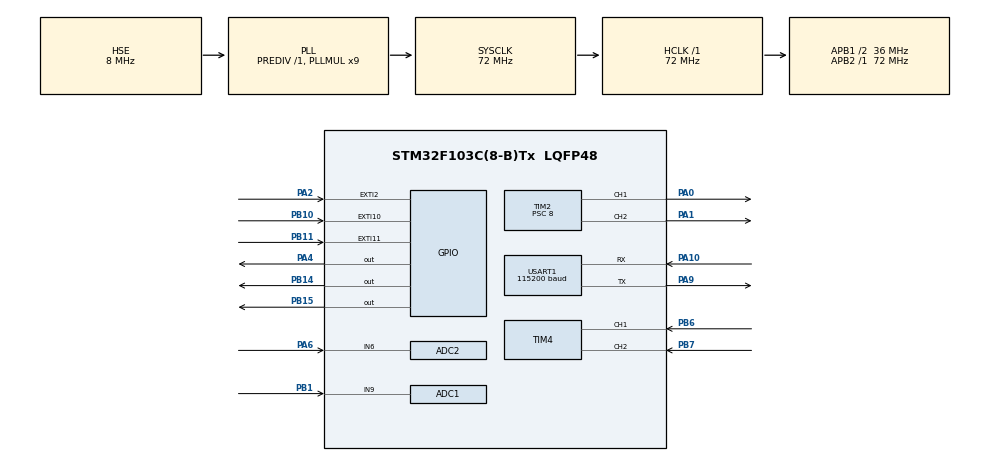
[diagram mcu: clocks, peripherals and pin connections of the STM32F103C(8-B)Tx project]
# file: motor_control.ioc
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ADC1.Channel-0\#ChannelRegularConversion=ADC_CHANNEL_9
ADC1.NbrOfConversionFlag=1
ADC1.Rank-0\#ChannelRegularConversion=1
ADC1.SamplingTime-0\#ChannelRegularConversion=ADC_SAMPLETIME_239CYCLES_5
ADC1.master=1
ADC2.Channel-0\#ChannelRegularConversion=ADC_CHANNEL_6
ADC2.ContinuousConvMode=ENABLE
ADC2.NbrOfConversion=1
ADC2.NbrOfConversionFlag=1
ADC2.Rank-0\#ChannelRegularConversion=1
ADC2.SamplingTime-0\#ChannelRegularConversion=ADC_SAMPLETIME_239CYCLES_5
Mcu.Family=STM32F1
Mcu.Name=STM32F103C(8-B)Tx
Mcu.Package=LQFP48
NVIC.EXTI15_10_IRQn=true\:0\:0\:false\:false\:true\:true\:true\:true
NVIC.EXTI2_IRQn=true\:0\:0\:false\:false\:true\:true\:true\:true
NVIC.PriorityGroup=NVIC_PRIORITYGROUP_4
NVIC.USART1_IRQn=true\:0\:0\:false\:false\:true\:true\:true\:true
PA0-WKUP.Signal=S_TIM2_CH1_ETR
PA1.Signal=S_TIM2_CH2
PA10.Mode=Asynchronous
PA10.Signal=USART1_RX
PA13.Mode=Serial_Wire
PA13.Signal=SYS_JTMS-SWDIO
PA14.Mode=Serial_Wire
PA14.Signal=SYS_JTCK-SWCLK
PA2.Signal=GPXTI2
PA4.Signal=GPIO_Output
PA6.Signal=ADCx_IN6
PA9.Mode=Asynchronous
PA9.Signal=USART1_TX
PB1.Signal=ADCx_IN9
PB10.GPIO_ModeDefaultEXTI=GPIO_MODE_IT_FALLING
PB10.GPIO_PuPd=GPIO_PULLUP
PB10.Signal=GPXTI10
PB11.GPIO_ModeDefaultEXTI=GPIO_MODE_IT_FALLING
PB11.GPIO_PuPd=GPIO_PULLUP
PB11.Signal=GPXTI11
PB14.Signal=GPIO_Output
PB15.PinState=GPIO_PIN_RESET
PB15.Signal=GPIO_Output
PB6.Signal=S_TIM4_CH1
PB7.Signal=S_TIM4_CH2
PD0-OSC_IN.Mode=HSE-External-Oscillator
PD0-OSC_IN.Signal=RCC_OSC_IN
PD1-OSC_OUT.Mode=HSE-External-Oscillator
PD1-OSC_OUT.Signal=RCC_OSC_OUT
ProjectManager.HeapSize=0x200
ProjectManager.StackSize=0x400
ProjectManager.TargetToolchain=MDK-ARM V5
RCC.ADCPresc=RCC_ADCPCLK2_DIV6
RCC.AHBFreq_Value=72000000
RCC.APB1CLKDivider=RCC_HCLK_DIV2
RCC.APB1Freq_Value=36000000
RCC.APB1TimFreq_Value=72000000
RCC.APB2Freq_Value=72000000
RCC.APB2TimFreq_Value=72000000
RCC.HCLKFreq_Value=72000000
RCC.PLLMUL=RCC_PLL_MUL9
RCC.PLLSourceVirtual=RCC_PLLSOURCE_HSE
RCC.SYSCLKFreq_VALUE=72000000
RCC.SYSCLKSource=RCC_SYSCLKSOURCE_PLLCLK
RCC.USBFreq_Value=72000000
SH.ADCx_IN6.0=ADC2_IN6,IN6
SH.ADCx_IN9.0=ADC1_IN9,IN9
SH.S_TIM2_CH1_ETR.0=TIM2_CH1,PWM Generation1 CH1
SH.S_TIM2_CH2.0=TIM2_CH2,PWM Generation2 CH2
SH.S_TIM4_CH1.0=TIM4_CH1,Encoder_Interface
SH.S_TIM4_CH2.0=TIM4_CH2,Encoder_Interface
TIM2.Channel-PWM\ Generation1\ CH1=TIM_CHANNEL_1
TIM2.Channel-PWM\ Generation2\ CH2=TIM_CHANNEL_2
TIM2.Period=799
TIM2.Prescaler=8
TIM4.EncoderMode=TIM_ENCODERMODE_TI12
USART1.BaudRate=115200
USART1.VirtualMode=VM_ASYNC
VP_TIM2_VS_ClockSourceINT.Mode=Internal
board=custom

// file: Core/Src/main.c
/* USER CODE BEGIN Header */
/**
  ******************************************************************************
  * @file           : main.c
  * @brief          : Main program body
  ******************************************************************************
  * @attention
  *
  * Copyright (c) 2026 STMicroelectronics.
  * All rights reserved.
  *
  * This software is licensed under terms that can be found in the LICENSE file
  * in the root directory of this software component.
  * If no LICENSE file comes with this software, it is provided AS-IS.
  *
  ******************************************************************************
  */
/* USER CODE END Header */
#include "main.h"

/* USER CODE BEGIN Includes */
#include "motor.h"
#include "motor_logic.h"
#include "stdint.h"
#include "stdio.h"
#include "stdlib.h"
#include "Encoder.h"
#include "PID.h"
#include "string.h"
/* USER CODE END Includes */

ADC_HandleTypeDef hadc1;
ADC_HandleTypeDef hadc2;

TIM_HandleTypeDef htim2;
TIM_HandleTypeDef htim4;

UART_HandleTypeDef huart1;

void SystemClock_Config(void);
static void MX_GPIO_Init(void);
static void MX_TIM2_Init(void);
static void MX_ADC1_Init(void);
static void MX_USART1_UART_Init(void);
static void MX_TIM4_Init(void);
static void MX_ADC2_Init(void);

/* USER CODE BEGIN 0 */
#define VREF            3.3f    // Điện áp tham chiếu STM32 (V)
#define ADC_MAX         4095.0f // Độ phân giải 12-bit
#define R_SHUNT         1000.0f // Điện trở trên chân IS (thường là 1k Ohm = 1000)
#define K_ILIS          1950.0f // Hệ số của chip BTS7960 (tra datasheet)
#define PULSE_TO_MM_RATIO (8.0f / 422.4f)
uint8_t direction = 1;
uint16_t rx_buffer[8] = {0};
uint8_t rx_data;
uint8_t speed_mode = 0;
uint16_t current_speed;
uint8_t flag = 0;
volatile uint8_t current_motor_status;
//buffer
char buffer[60]; // gửi dữ liệu lên matlab
char MatlabBufferEncoder[8]; // receive Encoder data from matlab
char MatlabBufferPID1[64]; // receive PID data from matlab
//========
//float current_mm = 0;
uint32_t last_send = 0;
uint8_t isMoving = 0;
uint8_t isEncoderReceiving = 0; //no PID
uint8_t rx_index;
float target_mm = 0;
// pid variable ============================
float output;
uint8_t PIDinUSED = 0;
uint8_t isPIDReceiving = 0;
PID_typedef myPID;
uint32_t last_send_time =0;
uint32_t mode = 0;
float start_pos;
	float v_acc = 0;
	float acc_step = 2.0f;
	float current_vel;
           // Hệ số lọc (càng nhỏ càng mượt nhưng càng trễ)
	static uint32_t last_pid_time = 0;
// custom
uint8_t isCustomReceiving = 0;
uint8_t isPIDCustomReceiving = 0;
// Dung bien tro de dieu chinh toc do
uint8_t isManual = 0;
/// các che do hinh thang
typedef struct{
	float accel_dist;
	float maintain_dist;
	float decel_dist;
}Mode_Profile;
uint8_t EnNum;
uint8_t is_waiting = 0;
Mode_Profile profiles[4] = {
    {5000.0f, 2000.0f, 4000.0f}, // Mode 1: Cân bằng
    {2000.0f, 5000.0f, 3000.0f}, // Mode 2: Mượt mà
    {20000.0f,  2000.0f, 8000},  // Mode 3: Gắt/Nhanh
    {0.0f, 0.0f, 0.0f}  // Mode 4: Khởi động chậm, dừng nhanh
};
Mode_Profile profiles_mm[4]; // Mảng này dùng để chạy thực tế
typedef enum{
	VELOCITY_MODE = 0,
	POSITION_CONTROL,
	MANUAL_MODE,
	VELOCITY_POT, // CHANGE SETPOINT BY PO
	ENCODER_MODE,
	RESET_MODE,
}PID_Mode;
 volatile PID_Mode pid_mode;

typedef enum{
	MODE_E1,
	MODE_E2,
	MODE_E3,
	MODE_E4,
	MODE_RESET
}Encoder_Mode;
 volatile Encoder_Mode ModeE;

void Convert_Pulse_to_MM_Profiles(Mode_Profile p_pulse[]) {
    for(int i = 0; i < 4; i++) {
        p_pulse[i].accel_dist    = profiles[i].accel_dist    * PULSE_TO_MM_RATIO;
        p_pulse[i].maintain_dist = profiles[i].maintain_dist * PULSE_TO_MM_RATIO;
        p_pulse[i].decel_dist    = profiles[i].decel_dist    * PULSE_TO_MM_RATIO;
    }
}
float Encoder_mode_Handle(PID_typedef *pid, Mode_Profile p[EnNum])
{

		pid->current_pos = Encoder_GetDistance() ; // dua ve don vi xung
		pid->current_velocity = (pid->current_pos - pid->last_pos)/0.02f;
		float v_max = 91;
		float total_pulses = p[EnNum].accel_dist + p[EnNum].maintain_dist + p[EnNum].decel_dist;

		if(pid->current_pos < p[EnNum].accel_dist) // Accel phase
		{
			pid->target_velocity = (pid->current_pos / p[EnNum].accel_dist) * 91.0f;
			if (pid->target_velocity < 10.0f) pid->target_velocity = 10.0f; // min vel
		}
		else if(pid->current_pos < (p[EnNum].accel_dist + p[EnNum].maintain_dist)) // maintain phase
		{
			pid->target_velocity = v_max;
		}
		else if(pid->current_pos < total_pulses) // decel phase
		{
			float dist_left = total_pulses - pid->current_pos;
			pid->target_velocity = (dist_left/ p[EnNum].decel_dist) * 91.0f;
		}
		output = PID_Compute(&myPID, pid->target_velocity, pid->current_velocity, 0.02f);
		pid->last_pos = pid->current_pos;
		if (pid->current_pos >= total_pulses) {
				current_speed = 0;
				current_motor_status = MOTOR_STOP;
				return 0; // Thoát hàm luôn, không cho PID_Compute chạy nữa
		}
		if(output > 0)
		{
			 current_motor_status = MOTOR_SPEED_UP;
			 current_speed = (uint16_t)output;
			}
			else
			{
				current_motor_status = MOTOR_SPEED_DOWN;
				myPID.integral_Stored = 0;
				current_speed= 0;
		}
}

//Interrupt for receiving data

void HAL_UART_RxCpltCallback(UART_HandleTypeDef *huart)
{
  /* Prevent unused argument(s) compilation warning */
  UNUSED(huart);
  if(huart->Instance == USART1)
	{
		flag = 1;
		PID_Reset(&myPID);

		HAL_UART_Receive_IT(&huart1, &rx_data, 1);
	}
}
volatile uint8_t limit_left = 0;
volatile uint8_t limit_right = 0;
void Motor_State_Control_With_Reset(uint8_t target_state, uint16_t speed)
{
    static uint8_t last_state = MOTOR_STOP;
    static uint32_t stop_time_start = 0;

    // 1. Phát hiện sự kiện đảo chiều
    if ((target_state == MOTOR_SPEED_UP && last_state == MOTOR_SPEED_DOWN) ||
        (target_state == MOTOR_SPEED_DOWN && last_state == MOTOR_SPEED_UP))
    {
        is_waiting = 1;
        stop_time_start = HAL_GetTick();

        PID_Reset(&myPID); // Reset I và các thông số PID

        __HAL_TIM_SET_COMPARE(&htim2, TIM_CHANNEL_1, 0);
        __HAL_TIM_SET_COMPARE(&htim2, TIM_CHANNEL_2, 0);
    }

    // 2. Chờ bằng Timer (Trạm gác nội bộ)
    if (is_waiting)
    {
        if (HAL_GetTick() - stop_time_start < 1000) // Để 10s cho Ân dễ quan sát
        {
            // Ép dừng và THOÁT HÀM, không cho Bước 3 chạy
            __HAL_TIM_SET_COMPARE(&htim2, TIM_CHANNEL_1, 0);
            __HAL_TIM_SET_COMPARE(&htim2, TIM_CHANNEL_2, 0);

            // Cập nhật last_state ở đây để tránh lặp lại if ở Bước 1
            last_state = target_state;
            return;
        }
        else
        {
            is_waiting = 0; // Hết thời gian chờ, cho phép xuống Bước 3
        }
    }

    // 3. Thực thi điều khiển (Chỉ chạy khi ĐÃ CHỜ XONG)
    if (target_state == MOTOR_SPEED_UP)
    {
        current_motor_status = MOTOR_SPEED_UP;
    }
    else if (target_state == MOTOR_SPEED_DOWN)
    {
        current_motor_status = MOTOR_SPEED_DOWN;
    }
    else
    {
        // Trường hợp Stop
        current_motor_status = MOTOR_STOP;
        __HAL_TIM_SET_COMPARE(&htim2, TIM_CHANNEL_1, 0);
        __HAL_TIM_SET_COMPARE(&htim2, TIM_CHANNEL_2, 0);
    }

    last_state = target_state;
}
void HAL_GPIO_EXTI_Callback(uint16_t GPIO_Pin) {
    if (GPIO_Pin == GPIO_PIN_10) { // TRÁI
        limit_left = 1;
        Motor_Stop();
    }
    else if (GPIO_Pin == GPIO_PIN_11) { // PHẢI
        limit_right = 1;
        Motor_Stop();
    }
}

uint32_t last_ramp_time = 0;
void handle_simple_command(uint8_t *command)
{
	switch(*command)
			{
				case 'V':
					speed_mode = 1;
				break;
				// Trong handle_simple_command:
				case 'f': // Forward
            // CHỈ cho phép cập nhật hướng nếu đang ở MANUAL_MODE
            if(pid_mode == MANUAL_MODE) {
                current_motor_status = MOTOR_SPEED_UP;
            }
            break;

        case 'r': // Backward
            if(pid_mode == MANUAL_MODE) {
                current_motor_status = MOTOR_SPEED_DOWN;
            }
            break;

				case 's': // Stop
          current_motor_status = MOTOR_STOP;
					isMoving = 0;

					v_acc =0;
				isManual =0;
					break;
				case 'h':  //Home
						//current_speed = 30;
						pid_mode = POSITION_CONTROL; // Ép hệ thống chuyển sang điều khiển vị trí
						myPID.target_mm = 0;         // Đặt đích đến là gốc 0
						//myPID.integral_Stored  = 0;
            break;
				case 'z': //Set Zero
						current_motor_status = MOTOR_STOP;
						Encoder_SetZero(&myPID);
						break;
				case 'P':
					isPIDReceiving = 1;
					//PID_Reset(&myPID);
					//myPID.integral_Stored = 0;
					//rx_index = 0;
					break;
				case 'p':
					pid_mode = VELOCITY_POT;
				isPIDReceiving = 1;
				break;
				case 'J':
					pid_mode = RESET_MODE;

				break;
//				case 'm':
//						//PIDinUSED = 0;
//						//isMoving = 0;         // Dừng motor cho an toàn khi chuyển chế độ
//						//current_motor_status = MOTOR_STOP;
//						HAL_GPIO_WritePin(GPIOA, GPIO_PIN_4, 0);
//						// Reset các biến tích phân của PID để lần sau bật lại không bị giật
//						//myPID.integral_Stored = 0;
//						//myPID.previous_error = 0;
//						isPIDReceiving =0;
//
//					isManual =1;
//					break;
				case 'l':
						HAL_GPIO_WritePin(GPIOA, R_EN | L_EN, GPIO_PIN_RESET);

            // 2. Đợi ít nhất 3us (ở đây để 10ms cho chắc chắn và xả nhiệt)
            HAL_Delay(10);

            // 3. Kéo chân Enable lên HIGH để kích hoạt lại Driver [cite: 608]
            HAL_GPIO_WritePin(GPIOA, R_EN | L_EN, GPIO_PIN_SET);
					break;
				case 'e':
					pid_mode = ENCODER_MODE;
				Convert_Pulse_to_MM_Profiles(profiles_mm);
					break;
				case 'b':
					pid_mode = VELOCITY_MODE;
					PID_Reset(&myPID);
				break;
				case 'a':
						pid_mode = POSITION_CONTROL;
					PID_Reset(&myPID);
					break;
				case 'c':
						pid_mode = MANUAL_MODE;
					PID_Reset(&myPID);
				break;
				case 'g':
					ModeE = MODE_E1;
					myPID.integral_Stored = 0;
				break;
				case 'x':
					ModeE = MODE_E2;
					myPID.integral_Stored = 0;
					Encoder_SetZero(&myPID); // Đưa xung về 0 trước khi chạy
					PID_Reset(&myPID);
					pid_mode = ENCODER_MODE;
				break;
				case 'v':
					ModeE = MODE_E3;
					Encoder_SetZero(&myPID); // Đưa xung về 0 trước khi chạy
					PID_Reset(&myPID);
					pid_mode = ENCODER_MODE;
					myPID.integral_Stored = 0;
				break;
				case 'n':
					ModeE = MODE_E4;
					Encoder_SetZero(&myPID); // Đưa xung về 0 trước khi chạy
					PID_Reset(&myPID);
					pid_mode = ENCODER_MODE;
					myPID.integral_Stored = 0;
				break;
				case 'j':
					ModeE = MODE_RESET;
					myPID.integral_Stored = 0;
					Encoder_SetZero(&myPID); // Đưa xung về 0 trước khi chạy
					PID_Reset(&myPID);
					pid_mode = ENCODER_MODE;
					myPID.current_pos = 0;
					myPID.last_pos = 0;
				case 'C':
					isCustomReceiving = 1;
				break;
				case 'u':
					isPIDCustomReceiving = 1;
				break;
			}
}

/**
 * @brief  Hàm đọc dòng điện thực tế của Motor từ chân PA6
 * @param  hadc_ptr: Con trỏ tới bộ ADC đang dùng (ví dụ &hadc1)
 * @retval Giá trị dòng điện đơn vị Amper (float)
 */
float RAW = 0;
uint32_t adc_raw = 0;
float Get_Motor_Current(ADC_HandleTypeDef *hadc_ptr) {
    uint32_t adc_val = 0;
    float voltage = 0.0f;
    float current_A = 0.0f;

    // 1. Bắt đầu chuyển đổi ADC
    HAL_ADC_Start(hadc_ptr);

    // 2. Chờ ADC chuyển đổi xong (timeout 10ms)
    if (HAL_ADC_PollForConversion(hadc_ptr, 10) == HAL_OK) {
        adc_val = HAL_ADC_GetValue(hadc_ptr);

        // 3. Công thức quy đổi:
        // (adc_val / 4095.0f) * 3.3f  --> Đổi ra Volt
        // Volt / 1000.0f              --> Dòng IS (vì Ân dùng trở 1k)
        // IS * 1950.0f                --> Dòng Motor thực tế (hệ số chip)

        current_A = ((float)adc_val * 3.3f / 4095.0f / 1000.0f) * 1950.0f;

        // 4. Bộ lọc nhiễu "về 0" (Dead-band)
        // Nếu dòng nhỏ hơn 0.05A (nhiễu nhẹ), ép về 0 cho đẹp Matlab
        if (current_A < 0.05f) {
            current_A = 0.0f;
        }
    }

    HAL_ADC_Stop(hadc_ptr);
    return current_A;
}

/* USER CODE BEGIN 4 */

/* USER CODE END 4 */
/* USER CODE END 0 */

int main(void)
{

  /* MCU Configuration--------------------------------------------------------*/

  /* Reset of all peripherals, Initializes the Flash interface and the Systick. */
  HAL_Init();

  /* Configure the system clock */
  SystemClock_Config();

  /* Initialize all configured peripherals */
  MX_GPIO_Init();
  MX_TIM2_Init();
  MX_ADC1_Init();
  MX_USART1_UART_Init();
  MX_TIM4_Init();
  MX_ADC2_Init();
  /* USER CODE BEGIN 2 */
	// init Module
	Init_Motor();
	Encoder_Init(&htim4);
	//Calibrate_Current_System();
	PID_Init(&myPID, myPID.Kp, myPID.Ki, myPID.Kd, 799);
	//Start Encoder, Timer and Interrupt UART
	HAL_UART_Receive_IT(&huart1, &rx_data, 1);
	HAL_TIM_Encoder_Start(&htim4, TIM_CHANNEL_ALL);
	HAL_TIM_Base_Start_IT(&htim4);
	HAL_ADC_Start(&hadc1);
	HAL_ADC_Start(&hadc2);
  /* USER CODE END 2 */

  /* Infinite loop */
  while (1)
  {

    /* USER CODE BEGIN 3 */

		if(flag)
		{
			// UART Handle
			flag = 0;
			//Encoder Mode
//			if(isEncoderReceiving)
//			{
//					if(rx_data == '\n' || rx_data == '\r')
//					{
//							MatlabBufferEncoder[rx_index] = '\0';
//							target_mm = atof(MatlabBufferEncoder);
//							isEncoderReceiving = 0;
//							isMoving = 1;
//							rx_index = 0;
//
//							PID_Reset(&myPID);    // X�a s?ch Integral v� Error cu
//					}
//					else if (rx_index < 8) // Tránh lưu đè chữ G vào buffer
//					{
//							MatlabBufferEncoder[rx_index++] = rx_data;
//					}
//			}
			//speed mode
					if(speed_mode == 1)
					{
						current_speed = rx_data;
						speed_mode = 0;
					}
				// PID mode
					else if(isPIDReceiving)
						{

								if(rx_data == '\n' || rx_data == '\r')
								{
										MatlabBufferPID1[rx_index] = '\0';
										sscanf(MatlabBufferPID1, "%f I %f D %f M %f O%f", &myPID.Kp, &myPID.Ki, &myPID.Kd, &myPID.target_velocity, &myPID.target_mm);
									//sscanf(MatlabBufferPID1, "%f I %f D %f S %f M %f K %d", &myPID.Kp, &myPID.Ki, &myPID.Kd, &target_mm, &myPID.target_velocity, &mode);
										isPIDReceiving = 0;
										isMoving = 1;
										PIDinUSED = 1;
										rx_index = 0;
										PID_Reset(&myPID);    // X�a s?ch Integral v� Error cu
								}
								else if(rx_index < 40) // Tránh lưu đè chữ G vào buffer
								{

										MatlabBufferPID1[rx_index++] = rx_data;
								}
						}
					else if(isCustomReceiving && ModeE == MODE_E4)
						{
							if(rx_data == '\n' || rx_data == '\r')
								{
										MatlabBufferPID1[rx_index] = '\0';
										sscanf(MatlabBufferPID1, "%f I %f D %f A %f T %f d %f", &myPID.Kp, &myPID.Ki, &myPID.Kd, &profiles[3].accel_dist, &profiles[3].maintain_dist, &profiles[3].decel_dist);
										Convert_Pulse_to_MM_Profiles(profiles_mm);
									isCustomReceiving = 0;
										rx_index = 0;

								}
								else if(rx_index < 64) {
										MatlabBufferPID1[rx_index++] = rx_data;
								}

							}
					else if(isPIDCustomReceiving)
						{
							if(rx_data == '\n' || rx_data == '\r')
								{
										MatlabBufferPID1[rx_index] = '\0';
										sscanf(MatlabBufferPID1, "%f i %f o %f ", &myPID.Kp, &myPID.Ki, &myPID.Kd);
										isPIDCustomReceiving = 0;
										rx_index = 0;
								}
								else if(rx_index < 20) {
										MatlabBufferPID1[rx_index++] = rx_data;
								}
						}
		}

		handle_simple_command(&rx_data);
		Encoder_Update();

			if(HAL_GetTick() - last_pid_time > 20)
			{

				if(pid_mode == VELOCITY_MODE || pid_mode == VELOCITY_POT)
					{
						if(pid_mode == VELOCITY_POT)
						{
							HAL_ADC_Start(&hadc1);
							if(HAL_ADC_PollForConversion(&hadc1, 10) == HAL_OK)
								{
										uint32_t pot_raw = HAL_ADC_GetValue(&hadc1);
										// Quy đổi: (pot_raw / 4095) * 799
										myPID.target_velocity = (uint16_t)((pot_raw / 4095.0f) * 91.0f);
								}
						}
						myPID.current_pos =  Encoder_GetDistance() ; // lay vi tri hien tai
						myPID.current_velocity = (myPID.current_pos - myPID.last_pos)/0.02f;
						if(myPID.target_velocity >= 91)
							{
								myPID.target_velocity = 91;
							}
						float error_vel = myPID.target_velocity - myPID.current_velocity ;
						output = PID_Compute(&myPID, myPID.target_velocity, myPID.current_velocity , 0.02f);
						myPID.last_pos = myPID.current_pos;
						if(output > 0)
						{
							current_motor_status = MOTOR_SPEED_UP;
							current_speed = (uint16_t)output;
						}
						else
						{
							current_motor_status = MOTOR_STOP;
							//myPID.integral_Stored = 0;
							current_speed= 0;
						}

					}
				else if(pid_mode == MANUAL_MODE)
					{
						myPID.current_pos =  Encoder_GetDistance() ;
						HAL_ADC_Start(&hadc1);
						Motor_State_Control_With_Reset(current_motor_status, current_speed);
					// Chờ cho đến khi ADC chuyển đổi xong (Timeout 10ms)
					if(HAL_ADC_PollForConversion(&hadc1, 10) == HAL_OK)
						{
								uint32_t pot_raw = HAL_ADC_GetValue(&hadc1);

								//current_motor_status = MOTOR_SPEED_UP;
								// Quy đổi: (pot_raw / 4095) * 799
								current_speed = (uint16_t)((pot_raw / 4095.0f) * 799.0f);
						}

					myPID.last_pos = myPID.current_pos;
					}
				else if(pid_mode == POSITION_CONTROL)
					{
						myPID.current_pos =  Encoder_GetDistance() ; // lay vi tri hien tai
						myPID.current_velocity = (myPID.current_pos - myPID.last_pos)/0.02f;
						float error_pos = myPID.target_mm - myPID.current_pos ;
						output = PID_Compute(&myPID, myPID.target_mm , myPID.current_pos , 0.02f);
						if(output > 0)
						{
							current_motor_status = MOTOR_SPEED_UP;
							current_speed = (uint16_t)output;
						}
						else
						{
							current_motor_status = MOTOR_SPEED_DOWN;
							current_speed= (uint16_t)__fabs(output);
						}
						if (__fabs(myPID.target_mm  - myPID.current_pos) < 0.5f) {
									current_motor_status = MOTOR_STOP;
									current_speed = 0;

							}
						myPID.current_velocity = (myPID.current_pos - myPID.last_pos) / 0.02f;
						myPID.last_pos = myPID.current_pos;

					}
				else if(pid_mode == ENCODER_MODE)
					{
						Convert_Pulse_to_MM_Profiles(profiles_mm);
						 if(ModeE == MODE_E1) Encoder_mode_Handle(&myPID, &profiles_mm[0]);
						 else if (ModeE == MODE_E2) Encoder_mode_Handle(&myPID, &profiles_mm[1]);
						 else if (ModeE == MODE_E3) Encoder_mode_Handle(&myPID, &profiles_mm[2]);
						 else if (ModeE == MODE_E4) Encoder_mode_Handle(&myPID, &profiles_mm[3]);
						 else if (ModeE == MODE_RESET)
							{
								current_motor_status = MOTOR_STOP;
								myPID.integral_Stored = 0;
								Encoder_SetZero(&myPID); // Đưa xung về 0 trước khi chạy
								PID_Reset(&myPID);
								myPID.current_velocity= 0;
								myPID.current_pos = 0;
								myPID.last_pos = 0;
								myPID.target_mm =0;
								myPID.target_velocity = 0;
							}
						 }
					else if(pid_mode == RESET_MODE)
					{
								current_motor_status = MOTOR_STOP;
								Encoder_SetZero(&myPID); // Đưa xung về 0 trước khi chạy
								myPID.integral_Stored = 0;
								myPID.current_velocity= 0;
								PID_Reset(&myPID);
								myPID.current_pos = 0;
								myPID.last_pos = 0;
								myPID.target_mm =0;
								myPID.target_velocity = 0;
								output = 0;
					}
					Motor_handle();
				last_pid_time = HAL_GetTick();
					}
		if (HAL_GetTick() - last_send_time >= 100)
		{

				// Định dạng: V[số],E[số]\n  (Ví dụ: V150,E12.50\n)
			memset(buffer, 0, sizeof(buffer));
			int len = sprintf(buffer, "V%d E%.2f M%d S%d T%.2f Y%.2f\n", current_speed, myPID.current_pos, pid_mode, current_motor_status, myPID.target_mm, myPID.target_velocity);
				HAL_UART_Transmit(&huart1, (uint8_t*)buffer, len, 100);
				last_send_time = HAL_GetTick();

		}
	}

  /* USER CODE END 3 */
}

void SystemClock_Config(void)
{
  RCC_OscInitTypeDef RCC_OscInitStruct = {0};
  RCC_ClkInitTypeDef RCC_ClkInitStruct = {0};
  RCC_PeriphCLKInitTypeDef PeriphClkInit = {0};

  /** Initializes the RCC Oscillators according to the specified parameters
  * in the RCC_OscInitTypeDef structure.
  */
  RCC_OscInitStruct.OscillatorType = RCC_OSCILLATORTYPE_HSE;
  RCC_OscInitStruct.HSEState = RCC_HSE_ON;
  RCC_OscInitStruct.HSEPredivValue = RCC_HSE_PREDIV_DIV1;
  RCC_OscInitStruct.HSIState = RCC_HSI_ON;
  RCC_OscInitStruct.PLL.PLLState = RCC_PLL_ON;
  RCC_OscInitStruct.PLL.PLLSource = RCC_PLLSOURCE_HSE;
  RCC_OscInitStruct.PLL.PLLMUL = RCC_PLL_MUL9;
  if (HAL_RCC_OscConfig(&RCC_OscInitStruct) != HAL_OK)
  {
    Error_Handler();
  }

  /** Initializes the CPU, AHB and APB buses clocks
  */
  RCC_ClkInitStruct.ClockType = RCC_CLOCKTYPE_HCLK|RCC_CLOCKTYPE_SYSCLK
                              |RCC_CLOCKTYPE_PCLK1|RCC_CLOCKTYPE_PCLK2;
  RCC_ClkInitStruct.SYSCLKSource = RCC_SYSCLKSOURCE_PLLCLK;
  RCC_ClkInitStruct.AHBCLKDivider = RCC_SYSCLK_DIV1;
  RCC_ClkInitStruct.APB1CLKDivider = RCC_HCLK_DIV2;
  RCC_ClkInitStruct.APB2CLKDivider = RCC_HCLK_DIV1;

  if (HAL_RCC_ClockConfig(&RCC_ClkInitStruct, FLASH_LATENCY_2) != HAL_OK)
  {
    Error_Handler();
  }
  PeriphClkInit.PeriphClockSelection = RCC_PERIPHCLK_ADC;
  PeriphClkInit.AdcClockSelection = RCC_ADCPCLK2_DIV6;
  if (HAL_RCCEx_PeriphCLKConfig(&PeriphClkInit) != HAL_OK)
  {
    Error_Handler();
  }
}

static void MX_ADC1_Init(void)
{

  ADC_ChannelConfTypeDef sConfig = {0};

  /** Common config
  */
  hadc1.Instance = ADC1;
  hadc1.Init.ScanConvMode = ADC_SCAN_DISABLE;
  hadc1.Init.ContinuousConvMode = DISABLE;
  hadc1.Init.DiscontinuousConvMode = DISABLE;
  hadc1.Init.ExternalTrigConv = ADC_SOFTWARE_START;
  hadc1.Init.DataAlign = ADC_DATAALIGN_RIGHT;
  hadc1.Init.NbrOfConversion = 1;
  if (HAL_ADC_Init(&hadc1) != HAL_OK)
  {
    Error_Handler();
  }

  /** Configure Regular Channel
  */
  sConfig.Channel = ADC_CHANNEL_9;
  sConfig.Rank = ADC_REGULAR_RANK_1;
  sConfig.SamplingTime = ADC_SAMPLETIME_239CYCLES_5;
  if (HAL_ADC_ConfigChannel(&hadc1, &sConfig) != HAL_OK)
  {
    Error_Handler();
  }

}

static void MX_ADC2_Init(void)
{

  ADC_ChannelConfTypeDef sConfig = {0};

  /** Common config
  */
  hadc2.Instance = ADC2;
  hadc2.Init.ScanConvMode = ADC_SCAN_DISABLE;
  hadc2.Init.ContinuousConvMode = ENABLE;
  hadc2.Init.DiscontinuousConvMode = DISABLE;
  hadc2.Init.ExternalTrigConv = ADC_SOFTWARE_START;
  hadc2.Init.DataAlign = ADC_DATAALIGN_RIGHT;
  hadc2.Init.NbrOfConversion = 1;
  if (HAL_ADC_Init(&hadc2) != HAL_OK)
  {
    Error_Handler();
  }

  /** Configure Regular Channel
  */
  sConfig.Channel = ADC_CHANNEL_6;
  sConfig.Rank = ADC_REGULAR_RANK_1;
  sConfig.SamplingTime = ADC_SAMPLETIME_239CYCLES_5;
  if (HAL_ADC_ConfigChannel(&hadc2, &sConfig) != HAL_OK)
  {
    Error_Handler();
  }

}

static void MX_TIM2_Init(void)
{

  TIM_ClockConfigTypeDef sClockSourceConfig = {0};
  TIM_MasterConfigTypeDef sMasterConfig = {0};
  TIM_OC_InitTypeDef sConfigOC = {0};

  htim2.Instance = TIM2;
  htim2.Init.Prescaler = 8;
  htim2.Init.CounterMode = TIM_COUNTERMODE_UP;
  htim2.Init.Period = 799;
  htim2.Init.ClockDivision = TIM_CLOCKDIVISION_DIV1;
  htim2.Init.AutoReloadPreload = TIM_AUTORELOAD_PRELOAD_DISABLE;
  if (HAL_TIM_Base_Init(&htim2) != HAL_OK)
  {
    Error_Handler();
  }
  sClockSourceConfig.ClockSource = TIM_CLOCKSOURCE_INTERNAL;
  if (HAL_TIM_ConfigClockSource(&htim2, &sClockSourceConfig) != HAL_OK)
  {
    Error_Handler();
  }
  if (HAL_TIM_PWM_Init(&htim2) != HAL_OK)
  {
    Error_Handler();
  }
  sMasterConfig.MasterOutputTrigger = TIM_TRGO_RESET;
  sMasterConfig.MasterSlaveMode = TIM_MASTERSLAVEMODE_DISABLE;
  if (HAL_TIMEx_MasterConfigSynchronization(&htim2, &sMasterConfig) != HAL_OK)
  {
    Error_Handler();
  }
  sConfigOC.OCMode = TIM_OCMODE_PWM1;
  sConfigOC.Pulse = 0;
  sConfigOC.OCPolarity = TIM_OCPOLARITY_HIGH;
  sConfigOC.OCFastMode = TIM_OCFAST_DISABLE;
  if (HAL_TIM_PWM_ConfigChannel(&htim2, &sConfigOC, TIM_CHANNEL_1) != HAL_OK)
  {
    Error_Handler();
  }
  if (HAL_TIM_PWM_ConfigChannel(&htim2, &sConfigOC, TIM_CHANNEL_2) != HAL_OK)
  {
    Error_Handler();
  }
  HAL_TIM_MspPostInit(&htim2);

}

static void MX_TIM4_Init(void)
{

  TIM_Encoder_InitTypeDef sConfig = {0};
  TIM_MasterConfigTypeDef sMasterConfig = {0};

  htim4.Instance = TIM4;
  htim4.Init.Prescaler = 0;
  htim4.Init.CounterMode = TIM_COUNTERMODE_UP;
  htim4.Init.Period = 65535;
  htim4.Init.ClockDivision = TIM_CLOCKDIVISION_DIV1;
  htim4.Init.AutoReloadPreload = TIM_AUTORELOAD_PRELOAD_DISABLE;
  sConfig.EncoderMode = TIM_ENCODERMODE_TI12;
  sConfig.IC1Polarity = TIM_ICPOLARITY_RISING;
  sConfig.IC1Selection = TIM_ICSELECTION_DIRECTTI;
  sConfig.IC1Prescaler = TIM_ICPSC_DIV1;
  sConfig.IC1Filter = 0;
  sConfig.IC2Polarity = TIM_ICPOLARITY_RISING;
  sConfig.IC2Selection = TIM_ICSELECTION_DIRECTTI;
  sConfig.IC2Prescaler = TIM_ICPSC_DIV1;
  sConfig.IC2Filter = 0;
  if (HAL_TIM_Encoder_Init(&htim4, &sConfig) != HAL_OK)
  {
    Error_Handler();
  }
  sMasterConfig.MasterOutputTrigger = TIM_TRGO_RESET;
  sMasterConfig.MasterSlaveMode = TIM_MASTERSLAVEMODE_DISABLE;
  if (HAL_TIMEx_MasterConfigSynchronization(&htim4, &sMasterConfig) != HAL_OK)
  {
    Error_Handler();
  }

}

static void MX_USART1_UART_Init(void)
{

  huart1.Instance = USART1;
  huart1.Init.BaudRate = 115200;
  huart1.Init.WordLength = UART_WORDLENGTH_8B;
  huart1.Init.StopBits = UART_STOPBITS_1;
  huart1.Init.Parity = UART_PARITY_NONE;
  huart1.Init.Mode = UART_MODE_TX_RX;
  huart1.Init.HwFlowCtl = UART_HWCONTROL_NONE;
  huart1.Init.OverSampling = UART_OVERSAMPLING_16;
  if (HAL_UART_Init(&huart1) != HAL_OK)
  {
    Error_Handler();
  }

}

static void MX_GPIO_Init(void)
{
  GPIO_InitTypeDef GPIO_InitStruct = {0};

  /* GPIO Ports Clock Enable */
  __HAL_RCC_GPIOD_CLK_ENABLE();
  __HAL_RCC_GPIOA_CLK_ENABLE();
  __HAL_RCC_GPIOB_CLK_ENABLE();

  /*Configure GPIO pin Output Level */
  HAL_GPIO_WritePin(GPIOA, GPIO_PIN_4, GPIO_PIN_RESET);

  /*Configure GPIO pin Output Level */
  HAL_GPIO_WritePin(GPIOB, GPIO_PIN_14|GPIO_PIN_15, GPIO_PIN_RESET);

  /*Configure GPIO pin : PA2 */
  GPIO_InitStruct.Pin = GPIO_PIN_2;
  GPIO_InitStruct.Mode = GPIO_MODE_IT_RISING;
  GPIO_InitStruct.Pull = GPIO_NOPULL;
  HAL_GPIO_Init(GPIOA, &GPIO_InitStruct);

  /*Configure GPIO pin : PA4 */
  GPIO_InitStruct.Pin = GPIO_PIN_4;
  GPIO_InitStruct.Mode = GPIO_MODE_OUTPUT_PP;
  GPIO_InitStruct.Pull = GPIO_NOPULL;
  GPIO_InitStruct.Speed = GPIO_SPEED_FREQ_LOW;
  HAL_GPIO_Init(GPIOA, &GPIO_InitStruct);

  /*Configure GPIO pins : PB10 PB11 */
  GPIO_InitStruct.Pin = GPIO_PIN_10|GPIO_PIN_11;
  GPIO_InitStruct.Mode = GPIO_MODE_IT_FALLING;
  GPIO_InitStruct.Pull = GPIO_PULLUP;
  HAL_GPIO_Init(GPIOB, &GPIO_InitStruct);

  /*Configure GPIO pins : PB14 PB15 */
  GPIO_InitStruct.Pin = GPIO_PIN_14|GPIO_PIN_15;
  GPIO_InitStruct.Mode = GPIO_MODE_OUTPUT_PP;
  GPIO_InitStruct.Pull = GPIO_NOPULL;
  GPIO_InitStruct.Speed = GPIO_SPEED_FREQ_LOW;
  HAL_GPIO_Init(GPIOB, &GPIO_InitStruct);

  /* EXTI interrupt init*/
  HAL_NVIC_SetPriority(EXTI2_IRQn, 0, 0);
  HAL_NVIC_EnableIRQ(EXTI2_IRQn);

  HAL_NVIC_SetPriority(EXTI15_10_IRQn, 0, 0);
  HAL_NVIC_EnableIRQ(EXTI15_10_IRQn);

}

void Error_Handler(void)
{
  __disable_irq();
  while (1)
  {
  }
}
